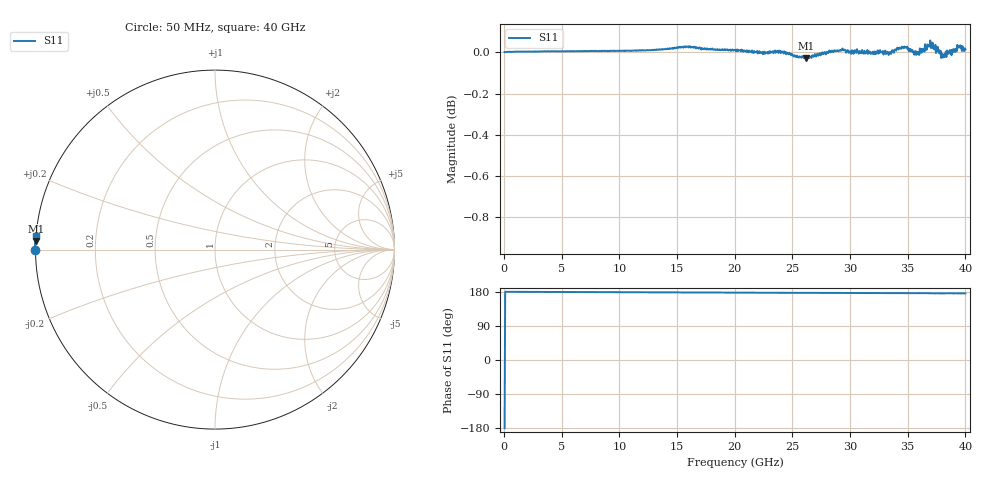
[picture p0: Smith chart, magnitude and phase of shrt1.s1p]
! Created Thu Feb 13 19:32:03 2025
# hz S ma R 50
! 1 Port Network Data from SP1.SP block
! freq  magS11  angS11
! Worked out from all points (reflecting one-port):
!   800 points, 50 MHz to 40 GHz, reference 50 ohm
!   lowest |S11| = 0.0 dB at 26.2 GHz (marker M1), VSWR 639.28, Z = 0.0783 + j1.22 ohm
!   phase of S11 starts at -180 deg and turns -4 deg over the sweep
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5e7  1 -180.0
5.05e9  1.001 179.5
1.005e10  1.001 178.9
1.505e10  1.003 178.4
1.71e10  1.002 178.1
2.005e10  1.002 177.8
2.25e10  1 177.5
2.39e10  1.001 177.4
2.505e10  0.9982 177.3
2.62e10  0.9969 177.2
2.88e10  1.001 177.1
3.005e10  1 176.9
3.075e10  0.9994 176.7
3.215e10  1.001 176.7
3.335e10  0.9986 176.6
3.39e10  1.002 176.6
3.47e10  1.003 176.4
3.505e10  1.002 176.2
3.57e10  1.001 176.4
3.615e10  1.002 176.5
3.655e10  1.002 176.4
3.695e10  1.007 176.1
3.73e10  1.004 175.8
3.775e10  1.001 175.7
3.81e10  0.9973 175.8
3.845e10  0.9992 175.9
3.945e10  1.003 175.8
4e10  1.002 175.8
